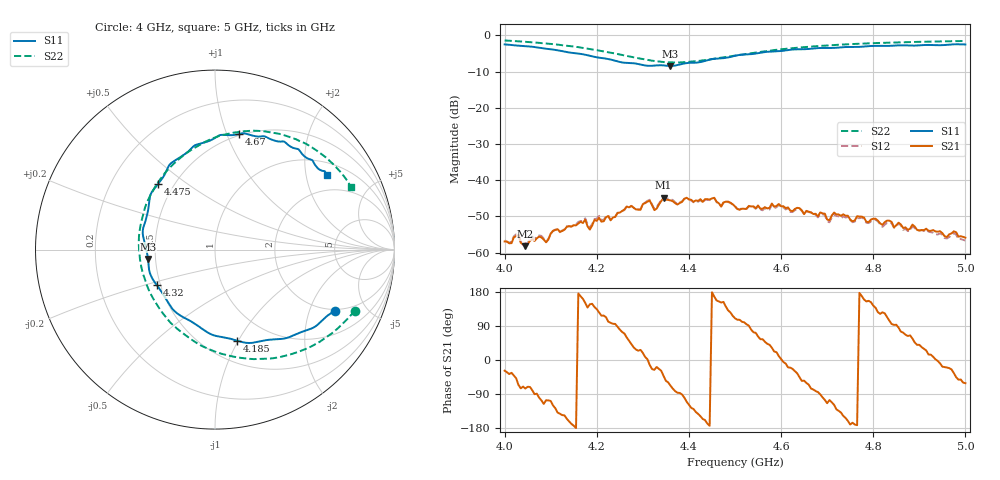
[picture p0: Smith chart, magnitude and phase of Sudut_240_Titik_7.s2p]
# Hz S RI R 50
! CMT, C1220, 16058040, 17.2.0/1
! Date: 15/08/2018 12:04:22
! Data: Format (Calibration Info)
! Freq  S11: Re/Im (F2)  S21: Re/Im (F2)  S12: Re/Im (F2)  S22: Re/Im (F2)
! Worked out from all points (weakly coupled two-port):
!   201 points, 4 GHz to 5 GHz, reference 50 ohm
!   highest |S21| = -44.85 dB at 4.345 GHz (marker M1); lowest = -58.2 dB at 4.045 GHz (marker M2)
!   lowest |S11| = -8.5 dB at 4.36 GHz (marker M3), VSWR 2.21, Z = 22.7 - j2.76 ohm
!   |S11| at or under -10 dB: nowhere
!   |S22| runs from -7.5 to -1.4 dB; largest |S21 - S12| = 0.00032
!   S11 on the Smith chart (normalised r, x): 4 GHz: 1.95, -3.01; 4.185 GHz: 0.71, -0.99; 4.32 GHz: 0.48, -0.22; 4.475 GHz: 0.41, +0.39; 4.67 GHz: 0.49, +1.10; 5 GHz: 1.41, +2.63
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4e9  0.6676 -0.3394  0.00125 -0.000673  0.00133 -0.000621  0.7778 -0.3397
4.03e9  0.6075 -0.3851  0.000724 -0.0016  0.000857 -0.00159  0.72 -0.4042
4.045e9  0.5732 -0.4173  0.000309 -0.00118  0.000415 -0.00128  0.6867 -0.4365
4.075e9  0.4987 -0.4531  -0.000279 -0.00164  -0.000221 -0.00171  0.6108 -0.4947
4.09e9  0.4505 -0.4721  -0.000387 -0.00133  -0.000411 -0.00135  0.5689 -0.5218
4.105e9  0.4026 -0.4915  -0.000989 -0.00173  -0.000963 -0.00173  0.5222 -0.5462
4.17e9  0.1726 -0.5193  -0.00242 0.00082  -0.0026 0.000739  0.2801 -0.6079
4.185e9  0.1229 -0.5073  -0.00174 0.00113  -0.0019 0.00115  0.2167 -0.6101
4.195e9  0.0851 -0.4964  -0.00216 0.00182  -0.00224 0.00183  0.1733 -0.6066
4.23e9  -0.0427 -0.4607  -0.000395 0.00276  -0.000291 0.00278  0.0201 -0.5756
4.265e9  -0.1732 -0.3789  0.00219 0.00372  0.00212 0.00375  -0.1296 -0.5022
4.32e9  -0.3236 -0.1982  0.00411 -0.00183  0.00424 -0.00179  -0.3224 -0.3081
4.335e9  -0.3562 -0.1469  0.00423 -0.00184  0.00435 -0.00194  -0.3608 -0.2418
4.345e9  -0.367 -0.1139  0.00424 -0.00384  0.00432 -0.00397  -0.3821 -0.1925
4.36e9  -0.3732 -0.0522  0.00199 -0.00485  0.00189 -0.00508  -0.4048 -0.1208
4.475e9  -0.3181 0.3643  -0.00439 0.00221  -0.00435 0.00231  -0.3051 0.392
4.5e9  -0.2656 0.4485  -0.00149 0.00407  -0.00154 0.00407  -0.2403 0.4682
4.595e9  -0.0463 0.6005  0.0046 0.000839  0.00447 0.000771  0.0307 0.6353
4.67e9  0.1328 0.6437  0.000713 -0.00333  0.000551 -0.00329  0.237 0.6615
4.705e9  0.1983 0.6382  -0.000757 -0.00269  -0.00078 -0.0025  0.324 0.6507
4.835e9  0.4343 0.5671  -0.00065 0.00268  -0.000673 0.0025  0.5725 0.5476
5e9  0.6217 0.414  0.000773 -0.00141  0.00078 -0.00124  0.7582 0.3505
